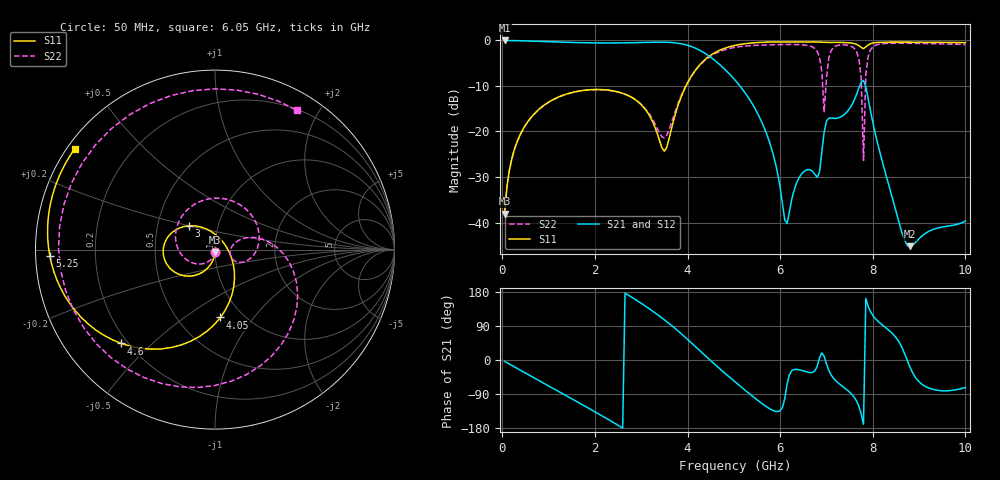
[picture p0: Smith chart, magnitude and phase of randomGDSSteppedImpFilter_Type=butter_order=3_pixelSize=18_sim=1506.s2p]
! freq	dB(S11)	phase(S11)	dB(S12)	phase(S12)
!  dB(S21)	phase(S21)	dB(S22)	phase(S22)
!S-par simulation data
#  GHz  S  DB  R 50
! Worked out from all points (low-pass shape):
!   200 points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, 50 MHz to 10 GHz, reference 50 ohm
!   highest |S21| = -0.02 dB at 50 MHz (marker M1); lowest = -45.2 dB at 8.8 GHz (marker M2)
!   |S21| within 3 dB of the highest: start of sweep to 4.404 GHz
!   lowest |S11| = -38.0 dB at 50 MHz (marker M3), VSWR 1.03, Z = 50 - j1.25 ohm
!   |S11| at or under -10 dB: start of sweep to 3.967 GHz
!   |S22| runs from -38.1 to -0.6 dB; largest |S21 - S12| = 0
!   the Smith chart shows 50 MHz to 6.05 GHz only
!   S11 on the Smith chart (normalised r, x): 50 MHz: 1.00, -0.03; 3 GHz: 0.72, +0.20; 4.05 GHz: 0.79, -0.70; 4.6 GHz: 0.18, -0.40; 5.25 GHz: 0.04, -0.02; 6.05 GHz: 0.02, +0.32
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0.05  -38.03 -87.3  -0.02 -3.5  -0.02 -3.5  -38.08 -89.5
0.5  -18.62 -113.2  -0.11 -34.5  -0.11 -34.5  -18.66 -136.4
1.75  -10.98 -164.9  -0.51 -119.4  -0.51 -119.4  -11.01 105.2
3  -14.12 137.7  -0.46 149.6  -0.46 149.6  -14.03 -15.6
3.4  -22.13 82.4  -0.38 115.4  -0.38 115.4  -20.43 -23.4
4.05  -8.42 -85.4  -1.23 48.9  -1.23 48.9  -8.39 -3.4
4.6  -2.63 -134.9  -4.49 -12.7  -4.49 -12.7  -2.88 -75.9
5.05  -1.04 -166.2  -9.00 -60.1  -9.00 -60.1  -1.48 -141.4
5.25  -0.72 -177.8  -11.62 -80.4  -11.62 -80.4  -1.23 -172.5
5.7  -0.39 159.5  -20.33 -122.8  -20.33 -122.8  -1.00 114.0
6.05  -0.33 144.3  -35.79 -125.1  -35.79 -125.1  -0.91 59.5
6.7  -0.34 118.9  -28.75 -32.7  -28.75 -32.7  -1.46 -28.0
6.95  -0.44 109.4  -20.14 10.0  -20.14 10.0  -15.68 -48.3
7.15  -0.44 102.6  -17.12 -48.0  -17.12 -48.0  -1.56 -23.9
7.65  -0.86 82.2  -11.86 -108.3  -11.86 -108.3  -2.46 -95.0
7.75  -1.56 79.6  -9.12 -142.3  -9.12 -142.3  -8.30 -126.5
7.8  -1.81 81.9  -8.80 -169.7  -8.80 -169.7  -26.38 -47.2
7.85  -1.45 83.8  -10.24 162.5  -10.24 162.5  -7.50 -13.0
7.9  -1.00 82.7  -12.76 141.8  -12.76 141.8  -3.55 -31.6
8.35  -0.39 63.1  -31.90 78.3  -31.90 78.3  -0.65 -87.8
8.8  -0.39 46.1  -45.18 -17.8  -45.18 -17.8  -0.63 -111.8
10  -0.49 1.7  -39.66 -72.7  -39.66 -72.7  -0.91 -163.5
